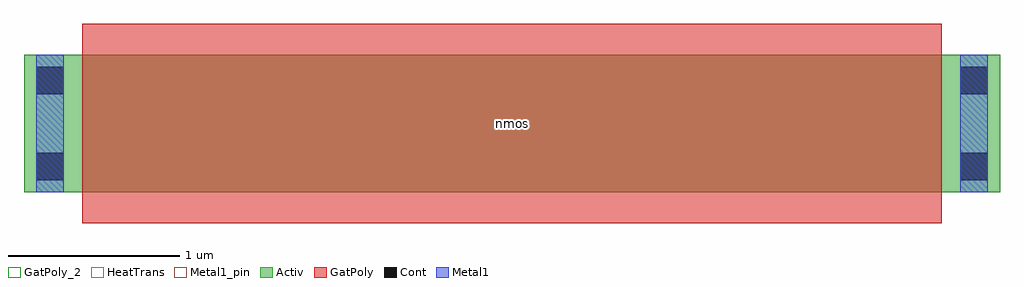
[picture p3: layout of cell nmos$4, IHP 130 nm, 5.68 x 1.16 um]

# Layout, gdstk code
import gdstk
lib = gdstk.Library(unit=1e-6, precision=1e-09)
def R(c, l, rs):  # rectangles x0, y0, x1, y1
    for r in rs: c.add(gdstk.rectangle(r[:2], r[2:], *l))
Activ = (1, 0)
GatPoly = (5, 0)
GatPoly_2 = (5, 2)
Cont = (6, 0)
Metal1 = (8, 0)
Metal1_pin = (8, 2)
HeatTrans = (51, 0)

nmos_4 = lib.new_cell('nmos$4')
R(nmos_4, Activ, [(0,0,0.3,0.3), (0,0,5.68,0.8), (5.38,0,5.68,0.3)])
R(nmos_4, GatPoly, [(0.34,-0.18,5.34,0.98)])
R(nmos_4, GatPoly_2, [(0.34,-0.18,5.34,0.98)])
R(nmos_4, Cont, [(0.07,0.07,0.23,0.23), (5.45,0.07,5.61,0.23), (0.07,0.57,0.23,0.73), (5.45,0.57,5.61,0.73)])
R(nmos_4, Metal1, [(0.07,0,0.23,0.8), (5.45,0,5.61,0.8)])
R(nmos_4, Metal1_pin, [(0.07,0,0.23,0.8), (5.45,0,5.61,0.8)])
R(nmos_4, HeatTrans, [(0.34,-0.18,5.34,0.98)])
nmos_4.add(gdstk.Label('nmos', (2.84,0.4), layer=63, texttype=0))
nmos_4.add(gdstk.Label('nmos', (2.84,0.4), layer=51, texttype=0))

lib.write_gds('nmos_4.gds')
